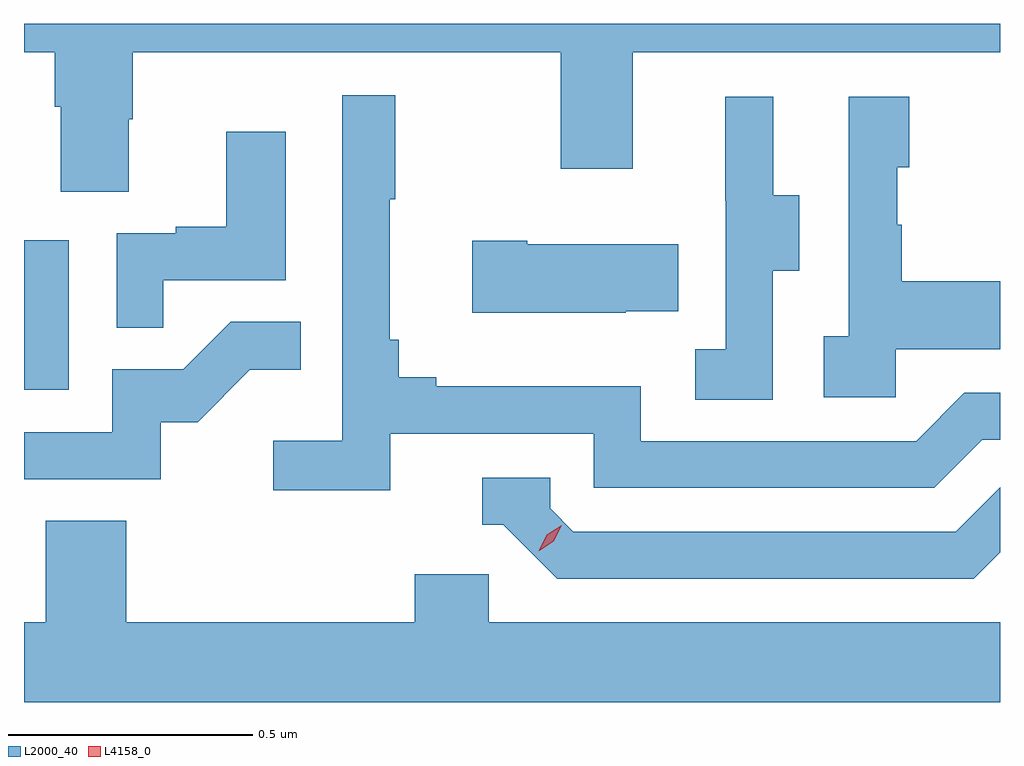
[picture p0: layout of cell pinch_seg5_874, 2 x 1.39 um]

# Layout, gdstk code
import gdstk
lib = gdstk.Library(unit=1e-6, precision=1e-09)
def R(c, l, rs):  # rectangles x0, y0, x1, y1
    for r in rs: c.add(gdstk.rectangle(r[:2], r[2:], *l))
def P(c, l, *ps):  # polygons
    for p in ps: c.add(gdstk.Polygon(p, *l))
L2000_40 = (2000, 40)
L4158_0 = (4158, 0)

pinch_seg5_874 = lib.new_cell('pinch_seg5_874')
R(pinch_seg5_874, L2000_40, [(820.292,888.036,820.384,888.343)])
P(pinch_seg5_874, L2000_40, [(820.507,888.591),(820.515,888.591),(820.515,888.728),(821.392,888.728),(821.392,888.489),(821.539,888.489),(821.539,888.728),(822.292,888.728),(822.292,888.786),(820.292,888.786),(820.292,888.728),(820.355,888.728),(820.355,888.616),(820.367,888.616),(820.367,888.442),(820.507,888.442)],
  [(821.042,887.946),(821.46,887.946),(821.46,887.835),(822.157,887.835),(822.256,887.934),(822.292,887.934),(822.292,888.03),(822.219,888.03),(822.12,887.931),(821.556,887.931),(821.556,888.043),(821.137,888.043),(821.137,888.062),(821.06,888.062),(821.06,888.139),(821.041,888.139),(821.041,888.427),(821.053,888.427),(821.053,888.64),(820.944,888.64),(820.944,887.932),(820.803,887.932),(820.803,887.83),(821.042,887.83)],
  [(821.826,888.28),(821.881,888.28),(821.881,888.435),(821.827,888.435),(821.827,888.637),(821.729,888.637),(821.729,888.423),(821.73,888.423),(821.73,888.119),(821.667,888.119),(821.667,888.016),(821.826,888.016)],
  [(822.078,888.119),(822.292,888.119),(822.292,888.259),(822.091,888.259),(822.091,888.374),(822.081,888.374),(822.081,888.492),(822.106,888.492),(822.106,888.637),(821.982,888.637),(821.982,888.146),(821.931,888.146),(821.931,888.021),(822.078,888.021)],
  [(820.577,888.261),(820.828,888.261),(820.828,888.565),(820.706,888.565),(820.706,888.37),(820.603,888.37),(820.603,888.357),(820.482,888.357),(820.482,888.163),(820.577,888.163)],
  [(821.525,888.197),(821.633,888.197),(821.633,888.334),(821.323,888.334),(821.323,888.342),(821.211,888.342),(821.211,888.194),(821.525,888.194)],
  [(820.572,887.97),(820.648,887.97),(820.755,888.077),(820.859,888.077),(820.859,888.176),(820.716,888.176),(820.618,888.078),(820.473,888.078),(820.473,887.949),(820.292,887.949),(820.292,887.853),(820.572,887.853)],
  [(822.292,887.703),(822.292,887.836),(822.201,887.745),(821.418,887.745),(821.37,887.793),(821.37,887.856),(821.231,887.856),(821.231,887.76),(821.274,887.76),(821.385,887.649),(822.238,887.649)],
  [(822.292,887.56),(821.244,887.56),(821.244,887.658),(821.093,887.658),(821.093,887.56),(820.502,887.56),(820.502,887.768),(820.337,887.768),(820.337,887.56),(820.292,887.56),(820.292,887.396),(822.292,887.396)])
P(pinch_seg5_874, L4158_0, [(821.347,887.706),(821.347,887.706),(821.363,887.739),(821.394,887.759),(821.394,887.759),(821.394,887.759),(821.378,887.726),(821.348,887.706)])

lib.write_gds('pinch_seg5_874.gds')
